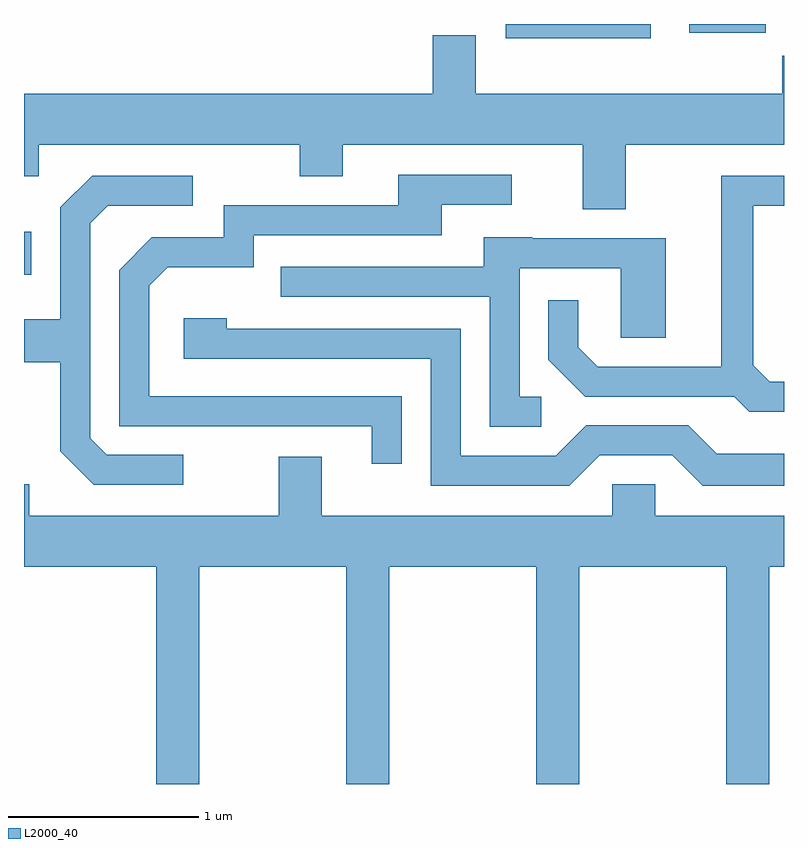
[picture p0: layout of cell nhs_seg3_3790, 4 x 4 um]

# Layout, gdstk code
import gdstk
lib = gdstk.Library(unit=1e-6, precision=1e-09)
def R(c, l, rs):  # rectangles x0, y0, x1, y1
    for r in rs: c.add(gdstk.rectangle(r[:2], r[2:], *l))
def P(c, l, *ps):  # polygons
    for p in ps: c.add(gdstk.Polygon(p, *l))
L2000_40 = (2000, 40)

nhs_seg3_3790 = lib.new_cell('nhs_seg3_3790')
R(nhs_seg3_3790, L2000_40, [(295.611,1218.571,295.649,1218.799), (298.146,1219.816,298.909,1219.892), (299.111,1219.846,299.514,1219.892)])
P(nhs_seg3_3790, L2000_40, [(298.779,1219.256),(299.611,1219.256),(299.611,1219.724),(299.601,1219.724),(299.601,1219.524),(297.989,1219.524),(297.989,1219.834),(297.761,1219.834),(297.761,1219.524),(295.611,1219.524),(295.611,1219.091),(295.689,1219.091),(295.689,1219.256),(297.061,1219.256),(297.061,1219.091),(297.289,1219.091),(297.289,1219.256),(298.551,1219.256),(298.551,1218.916),(298.779,1218.916)],
  [(297.599,1217.934),(296.269,1217.934),(296.269,1218.514),(296.367,1218.611),(296.819,1218.611),(296.819,1218.781),(297.809,1218.781),(297.809,1218.941),(298.178,1218.941),(298.178,1219.099),(297.581,1219.099),(297.581,1218.939),(296.661,1218.939),(296.661,1218.769),(296.284,1218.769),(296.111,1218.597),(296.111,1217.776),(297.441,1217.776),(297.441,1217.578),(297.599,1217.578)],
  [(299.611,1218.009),(299.537,1218.009),(299.449,1218.097),(299.449,1218.936),(299.611,1218.936),(299.611,1219.094),(299.281,1219.094),(299.281,1218.089),(298.632,1218.089),(298.529,1218.192),(298.529,1218.438),(298.371,1218.438),(298.371,1218.124),(298.564,1217.931),(299.349,1217.931),(299.429,1217.851),(299.611,1217.851)],
  [(296.448,1217.624),(296.047,1217.624),(295.959,1217.712),(295.959,1218.844),(296.052,1218.936),(296.498,1218.936),(296.498,1219.094),(295.969,1219.094),(295.801,1218.927),(295.801,1218.339),(295.611,1218.339),(295.611,1218.111),(295.801,1218.111),(295.801,1217.644),(295.979,1217.466),(296.448,1217.466)],
  [(298.333,1217.929),(298.219,1217.929),(298.219,1218.606),(298.751,1218.606),(298.751,1218.241),(298.989,1218.241),(298.989,1218.764),(298.285,1218.764),(298.285,1218.769),(298.031,1218.769),(298.031,1218.614),(296.963,1218.614),(296.963,1218.456),(298.061,1218.456),(298.061,1217.771),(298.333,1217.771)],
  [(298.642,1217.621),(299.024,1217.621),(299.184,1217.461),(299.611,1217.461),(299.611,1217.629),(299.257,1217.629),(299.107,1217.779),(298.569,1217.779),(298.409,1217.619),(297.909,1217.619),(297.909,1218.289),(296.679,1218.289),(296.679,1218.344),(296.451,1218.344),(296.451,1218.131),(297.751,1218.131),(297.751,1217.461),(298.482,1217.461)],
  [(296.534,1217.036),(297.306,1217.036),(297.306,1215.892),(297.534,1215.892),(297.534,1217.036),(298.306,1217.036),(298.306,1215.892),(298.534,1215.892),(298.534,1217.036),(299.306,1217.036),(299.306,1215.892),(299.534,1215.892),(299.534,1217.036),(299.611,1217.036),(299.611,1217.304),(298.934,1217.304),(298.934,1217.469),(298.706,1217.469),(298.706,1217.304),(297.179,1217.304),(297.179,1217.614),(296.951,1217.614),(296.951,1217.304),(295.639,1217.304),(295.639,1217.469),(295.611,1217.469),(295.611,1217.036),(296.306,1217.036),(296.306,1215.892),(296.534,1215.892)])

lib.write_gds('nhs_seg3_3790.gds')
